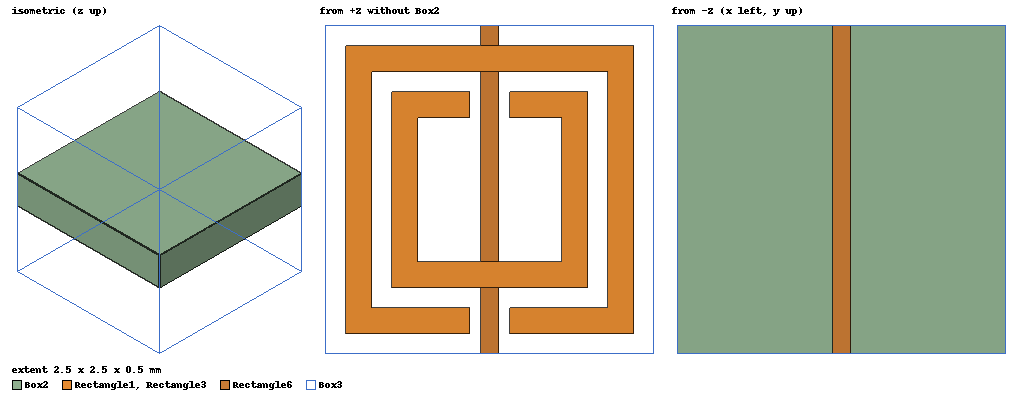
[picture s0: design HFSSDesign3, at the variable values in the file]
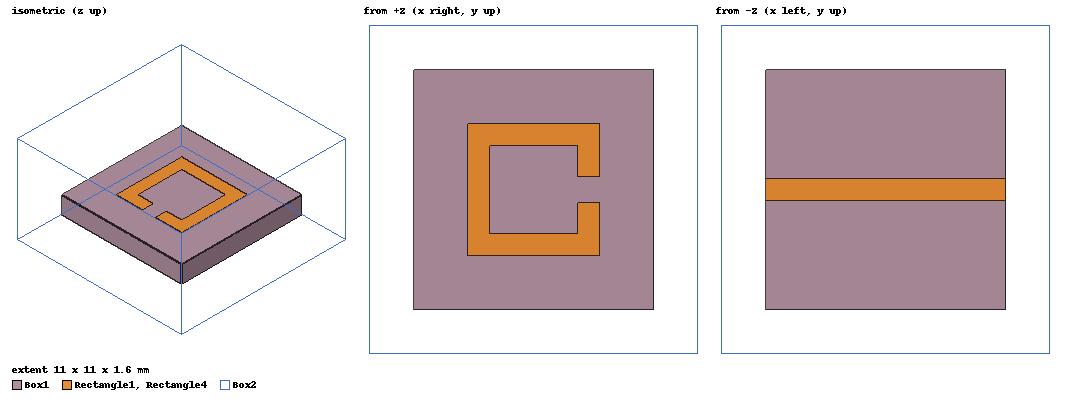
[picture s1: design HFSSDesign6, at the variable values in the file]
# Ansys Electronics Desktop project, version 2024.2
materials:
  vacuum: permittivity=1
  FR4_epoxy: permittivity=4.4 dielectric_loss_tangent=0.02
  air: permittivity=1.0006 permeability=1.0000004

design HFSSDesign3 (HFSS, HFSS Terminal Network, model units mm)
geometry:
  Rectangle1 = rectangle(corner=(0.15mm, 0.15mm, 0.25mm), x_size=2.2mm, y_size=2.2mm)
  Box2 [FR4_epoxy] = box(corner=(0mm, 0mm, 0mm), size=(2.5mm, 2.5mm, 0.5mm))
  Rectangle2 = rectangle(corner=(0.35mm, 0.35mm, 0.25mm), x_size=1.8mm, y_size=1.8mm)
  Slit1 = rectangle(corner=(1.1mm, 0.15mm, 0.25mm), x_size=0.3mm, y_size=0.2mm)
  Rectangle1.subtract(Rectangle2, Slit1)
  Rectangle3 = rectangle(corner=(0.5mm, 0.5mm, 0.25mm), x_size=1.5mm, y_size=1.5mm)
  Rectangle4 = rectangle(corner=(0.7mm, 0.7mm, 0.25mm), x_size=1.1mm, y_size=1.1mm)
  Rectangle5 = rectangle(corner=(1.1mm, 1.8mm, 0.25mm), x_size=0.3mm, y_size=0.2mm)
  Rectangle3.subtract(Rectangle4, Rectangle5)
  Rectangle6 = rectangle(corner=(1.18mm, 0mm, 0mm), x_size=0.14mm, y_size=2.5mm)
  Box3 [air] = box(corner=(0mm, 0mm, -1mm), size=(2.5mm, 2.5mm, 2.5mm))
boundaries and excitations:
  PerfE1: Perfect E Faces=Box3.face(-y)
  PerfE2: Perfect E Faces=Box3.face(+y)
  PerfH1: Perfect H Faces=Box3.face(+z)
  PerfH2: Perfect H Faces=Box3.face(-z)
  PerfE3: Perfect E Objects=[Rectangle1, Rectangle3, Rectangle6]
  1: Wave Port Faces=Box3.face(-x) WavePortType=Modal NumModes=1 Modes{Mode1{IntLine{(0, 0, 0) -> (0, 2.5, 0)} CharImp=Zpi}}
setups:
  Setup1: HfssDriven Frequency=5GHz MaxDeltaS=0.02 MaximumPasses=10 MinimumPasses=1 MinimumConvergedPasses=1 PercentRefinement=30 BasisOrder=1 PortAccuracy=2 DrivenSolverType="Direct Solver"
    sweep Sweep: 2.5GHz to 7.5GHz, 401 points; Type=Interpolating InterpTolerance=0.5 InterpMaxSolns=250 PassivityErrorTolerance=0.0001
    sweep Sweep1: 1GHz to 10GHz, 401 points; Type=Interpolating InterpTolerance=0.5 InterpMaxSolns=250 PassivityErrorTolerance=0.0001
    sweep Sweep2: 2.5GHz to 7.5GHz, 401 points; Type=Interpolating InterpTolerance=0.5 InterpMaxSolns=250 PassivityErrorTolerance=0.0001
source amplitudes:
  1:1: 1V 0deg

design HFSSDesign6 (HFSS, HFSS Terminal Network, model units mm)
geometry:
  Box1 [FR4_epoxy] = box(corner=(0mm, 0mm, 0mm), size=(11mm, 11mm, 1.6mm))
  Rectangle1 = rectangle(corner=(2.5mm, 2.5mm, 1.6mm), x_size=6mm, y_size=6mm)
  Rectangle2 = rectangle(corner=(3.5mm, 3.5mm, 1.6mm), x_size=4mm, y_size=4mm)
  Rectangle3 = rectangle(corner=(7.5mm, 4.9mm, 1.6mm), x_size=1mm, y_size=1.2mm)
  Rectangle1.subtract(Rectangle2, Rectangle3)
  Box2 [air] = box(corner=(-2mm, -2mm, -2mm), size=(15mm, 15mm, 8mm))
  Rectangle4 = rectangle(corner=(0mm, 5mm, 0mm), x_size=11mm, y_size=1mm)
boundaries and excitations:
  PerfE1: Perfect E Faces=Box2.face(-y)
  PerfE2: Perfect E Faces=Box2.face(+y)
  PerfH1: Perfect H Faces=Box2.face(+z)
  PerfH2: Perfect H Faces=Box2.face(-z)
  PerfE3: Perfect E Objects=[Rectangle1, Rectangle4]
  1: Wave Port Faces=Box2.face(+x) WavePortType=Modal NumModes=1 Modes{Mode1{IntLine{(13000mm, -1500mm, 2000mm) -> (13, 13, 1.5)} CharImp=Zpi}}
  2: Wave Port Faces=Box2.face(-x) WavePortType=Modal NumModes=1 Modes{Mode1{IntLine{(-2, -2, 1.5) -> (-2, 13, 1.5)} CharImp=Zpi}}
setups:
  Setup1: HfssDriven Frequency=5GHz MaxDeltaS=0.02 MaximumPasses=10 MinimumPasses=1 MinimumConvergedPasses=1 PercentRefinement=30 BasisOrder=1 PortAccuracy=2 DrivenSolverType="Direct Solver"
    sweep Sweep: 1GHz to 10GHz, 401 points; Type=Interpolating InterpTolerance=0.5 InterpMaxSolns=250 PassivityErrorTolerance=0.0001
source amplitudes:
  1:1: 1V 0deg
  2:1: 0V 0deg
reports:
  S Parameter Plot 1:
  S Parameter Plot 2: dB(S(1,1)), dB(S(2,1)) vs Freq on Setup1 : Sweep
